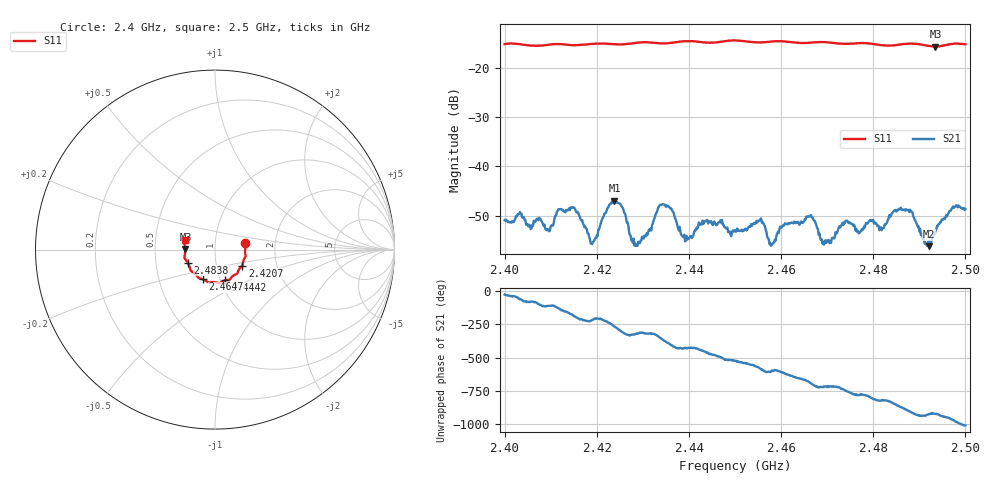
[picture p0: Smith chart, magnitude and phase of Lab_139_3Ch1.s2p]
# Hz S RI R 50
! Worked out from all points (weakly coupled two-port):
!   601 points, 2.4 GHz to 2.5 GHz, reference 50 ohm
!   highest |S21| = -46.98 dB at 2.4238 GHz (marker M1); lowest = -56.2 dB at 2.4922 GHz (marker M2)
!   lowest |S11| = -15.7 dB at 2.4935 GHz (marker M3), VSWR 1.39, Z = 35.9 + j0.155 ohm
!   |S11| at or under -10 dB: start of sweep to end of sweep
!   S12 and S22 are empty: the file has one direction only
!   S11 on the Smith chart (normalised r, x): 2.4 GHz: 1.40, +0.11; 2.4207 GHz: 1.33, -0.24; 2.4442 GHz: 1.06, -0.37; 2.4647 GHz: 0.83, -0.28; 2.4838 GHz: 0.73, -0.11; 2.5 GHz: 0.71, +0.08
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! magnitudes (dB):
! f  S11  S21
! 2.4 GHz  -15.2  -50.9
! 2.4167 GHz  -15.3  -51.0
! 2.419 GHz  -15.1  -55.8
! 2.4207 GHz  -15.1  -52.2
! 2.4238 GHz  -15.2  -47.0
! 2.4287 GHz  -14.9  -55.9
! 2.4333 GHz  -15.0  -48.3
! 2.436 GHz  -15.0  -48.6
! 2.4397 GHz  -14.6  -54.9
! 2.4442 GHz  -14.9  -51.6
! 2.45 GHz  -14.4  -52.9
! 2.4555 GHz  -14.8  -50.8
! 2.458 GHz  -14.6  -55.8
! 2.4647 GHz  -15.0  -51.5
! 2.4667 GHz  -14.9  -50.4
! 2.4695 GHz  -14.8  -55.1
! 2.4833 GHz  -15.5  -50.6
! 2.4838 GHz  -15.5  -50.0
! 2.488 GHz  -15.1  -48.8
! 2.4922 GHz  -15.6  -56.2
! 2.4935 GHz  -15.7  -53.1
! 2.5 GHz  -15.2  -48.7
